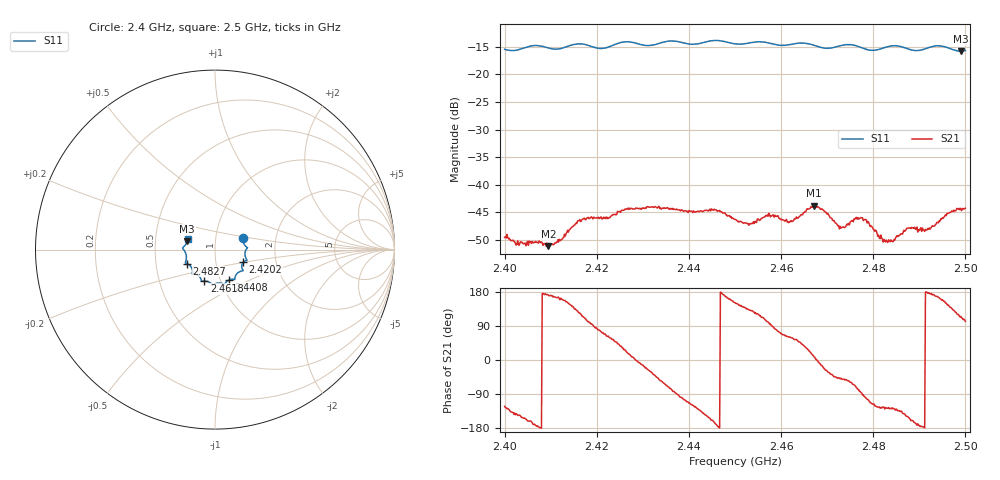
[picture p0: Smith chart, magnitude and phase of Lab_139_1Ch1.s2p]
# Hz S RI R 50
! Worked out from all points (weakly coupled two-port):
!   601 points, 2.4 GHz to 2.5 GHz, reference 50 ohm
!   highest |S21| = -43.77 dB at 2.4672 GHz (marker M1); lowest = -51.1 dB at 2.4095 GHz (marker M2)
!   lowest |S11| = -15.8 dB at 2.499 GHz (marker M3), VSWR 1.38, Z = 36.5 + j3.53 ohm
!   |S11| at or under -10 dB: start of sweep to end of sweep
!   S12 and S22 are empty: the file has one direction only
!   S11 on the Smith chart (normalised r, x): 2.4 GHz: 1.36, +0.17; 2.4202 GHz: 1.36, -0.20; 2.4408 GHz: 1.10, -0.39; 2.4618 GHz: 0.84, -0.30; 2.4827 GHz: 0.72, -0.12; 2.5 GHz: 0.73, +0.09
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2.4e9  0.156 0.0621  -0.00178 -0.00284  0 0  0 0
2.402833e9  0.1634 0.0284  -0.00258 -0.00174  0 0  0 0
2.4095e9  0.1726 -0.00161  -0.00276 0.000423  0 0  0 0
2.416667e9  0.1782 -0.0594  -0.00234 0.00413  0 0  0 0
2.420167e9  0.1568 -0.0703  0.000806 0.00496  0 0  0 0
2.433333e9  0.1119 -0.152  0.0042 -0.00471  0 0  0 0
2.440833e9  0.0789 -0.1688  -0.00279 -0.00486  0 0  0 0
2.445333e9  0.0529 -0.1943  -0.00561 -0.00182  0 0  0 0
2.45e9  0.028 -0.186  -0.00428 0.00232  0 0  0 0
2.453333e9  -0.00337 -0.1923  -0.00292 0.00332  0 0  0 0
2.457833e9  -0.023 -0.1879  -0.000146 0.00521  0 0  0 0
2.461833e9  -0.0599 -0.175  0.00227 0.00406  0 0  0 0
2.466667e9  -0.0769 -0.1686  0.00606 0.00166  0 0  0 0
2.467167e9  -0.078 -0.165  0.00641 0.000908  0 0  0 0
2.473167e9  -0.1223 -0.1351  0.00262 -0.00317  0 0  0 0
2.478e9  -0.1256 -0.1152  -0.000494 -0.00482  0 0  0 0
2.482667e9  -0.1571 -0.0777  -0.00176 -0.00249  0 0  0 0
2.483333e9  -0.1613 -0.0761  -0.00184 -0.0026  0 0  0 0
2.487833e9  -0.1597 -0.0519  -0.00366 -0.00182  0 0  0 0
2.492e9  -0.1736 -0.00177  -0.00396 0.00015  0 0  0 0
2.499e9  -0.1543 0.047  -0.00255 0.00548  0 0  0 0
2.5e9  -0.1518 0.0616  -0.0013 0.006  0 0  0 0
